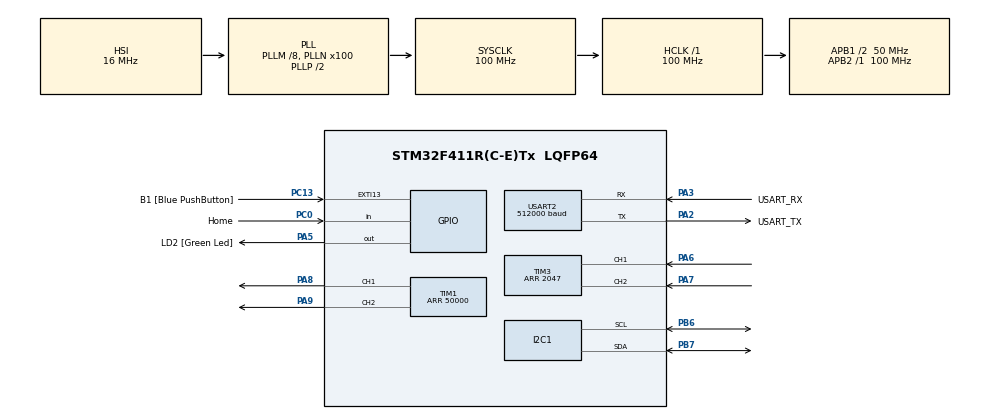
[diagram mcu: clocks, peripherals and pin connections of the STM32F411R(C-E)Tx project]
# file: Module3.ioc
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Dma.Request0=USART2_RX
Dma.Request1=USART2_TX
Dma.USART2_RX.0.Direction=DMA_PERIPH_TO_MEMORY
Dma.USART2_RX.0.FIFOMode=DMA_FIFOMODE_DISABLE
Dma.USART2_RX.0.Instance=DMA1_Stream5
Dma.USART2_RX.0.MemDataAlignment=DMA_MDATAALIGN_BYTE
Dma.USART2_RX.0.MemInc=DMA_MINC_ENABLE
Dma.USART2_RX.0.Mode=DMA_CIRCULAR
Dma.USART2_RX.0.PeriphDataAlignment=DMA_PDATAALIGN_BYTE
Dma.USART2_RX.0.PeriphInc=DMA_PINC_DISABLE
Dma.USART2_RX.0.Priority=DMA_PRIORITY_LOW
Dma.USART2_TX.1.Direction=DMA_MEMORY_TO_PERIPH
Dma.USART2_TX.1.FIFOMode=DMA_FIFOMODE_DISABLE
Dma.USART2_TX.1.Instance=DMA1_Stream6
Dma.USART2_TX.1.MemDataAlignment=DMA_MDATAALIGN_BYTE
Dma.USART2_TX.1.MemInc=DMA_MINC_ENABLE
Dma.USART2_TX.1.Mode=DMA_NORMAL
Dma.USART2_TX.1.PeriphDataAlignment=DMA_PDATAALIGN_BYTE
Dma.USART2_TX.1.PeriphInc=DMA_PINC_DISABLE
Dma.USART2_TX.1.Priority=DMA_PRIORITY_LOW
Mcu.Family=STM32F4
Mcu.Name=STM32F411R(C-E)Tx
Mcu.Package=LQFP64
NVIC.DMA1_Stream5_IRQn=true\:0\:0\:false\:false\:true\:false\:true\:true
NVIC.DMA1_Stream6_IRQn=true\:0\:0\:false\:false\:true\:false\:true\:true
NVIC.PriorityGroup=NVIC_PRIORITYGROUP_0
NVIC.USART2_IRQn=true\:0\:0\:false\:false\:true\:true\:true\:true
PA13.GPIO_Label=TMS
PA13.Mode=Serial_Wire
PA13.Signal=SYS_JTMS-SWDIO
PA14.GPIO_Label=TCK
PA14.Mode=Serial_Wire
PA14.Signal=SYS_JTCK-SWCLK
PA2.GPIO_Label=USART_TX
PA2.Mode=Asynchronous
PA2.Signal=USART2_TX
PA3.GPIO_Label=USART_RX
PA3.Mode=Asynchronous
PA3.Signal=USART2_RX
PA5.GPIO_Label=LD2 [Green Led]
PA5.Signal=GPIO_Output
PA6.Signal=S_TIM3_CH1
PA7.Signal=S_TIM3_CH2
PA8.Signal=S_TIM1_CH1
PA9.Signal=S_TIM1_CH2
PB3.GPIO_Label=SWO
PB3.Signal=SYS_JTDO-SWO
PB6.GPIO_Mode=GPIO_MODE_AF_OD
PB6.GPIO_Pu=GPIO_PULLUP
PB6.GPIO_Speed=GPIO_SPEED_FREQ_VERY_HIGH
PB6.Mode=I2C
PB6.Signal=I2C1_SCL
PB7.GPIO_Mode=GPIO_MODE_AF_OD
PB7.GPIO_Pu=GPIO_PULLUP
PB7.GPIO_Speed=GPIO_SPEED_FREQ_VERY_HIGH
PB7.Mode=I2C
PB7.Signal=I2C1_SDA
PC0.GPIO_Label=Home
PC0.Signal=GPIO_Input
PC13-ANTI_TAMP.GPIO_Label=B1 [Blue PushButton]
PC13-ANTI_TAMP.GPIO_ModeDefaultEXTI=GPIO_MODE_IT_FALLING
PC13-ANTI_TAMP.Signal=GPXTI13
PC14-OSC32_IN.Mode=LSE-External-Oscillator
PC14-OSC32_IN.Signal=RCC_OSC32_IN
PC15-OSC32_OUT.Mode=LSE-External-Oscillator
PC15-OSC32_OUT.Signal=RCC_OSC32_OUT
PH0\ -\ OSC_IN.Mode=HSE-External-Clock-Source
PH0\ -\ OSC_IN.Signal=RCC_OSC_IN
PH1\ -\ OSC_OUT.Mode=HSE-External-Clock-Source
PH1\ -\ OSC_OUT.Signal=RCC_OSC_OUT
ProjectManager.HeapSize=0x200
ProjectManager.StackSize=0x400
ProjectManager.TargetToolchain=STM32CubeIDE
RCC.48MHZClocksFreq_Value=50000000
RCC.AHBFreq_Value=100000000
RCC.APB1CLKDivider=RCC_HCLK_DIV2
RCC.APB1Freq_Value=50000000
RCC.APB1TimFreq_Value=100000000
RCC.APB2Freq_Value=100000000
RCC.APB2TimFreq_Value=100000000
RCC.CortexFreq_Value=100000000
RCC.FLatency-AdvancedSettings=FLASH_LATENCY_3
RCC.HCLKFreq_Value=100000000
RCC.HSE_VALUE=8000000
RCC.HSI_VALUE=16000000
RCC.PLLM=8
RCC.PLLN=100
RCC.SYSCLKFreq_VALUE=100000000
RCC.SYSCLKSource=RCC_SYSCLKSOURCE_PLLCLK
RCC.VCOOutputFreq_Value=200000000
SH.S_TIM1_CH1.0=TIM1_CH1,PWM Generation1 CH1
SH.S_TIM1_CH2.0=TIM1_CH2,PWM Generation2 CH2
SH.S_TIM3_CH1.0=TIM3_CH1,Encoder_Interface
SH.S_TIM3_CH2.0=TIM3_CH2,Encoder_Interface
TIM1.AutoReloadPreload=TIM_AUTORELOAD_PRELOAD_ENABLE
TIM1.Channel-PWM\ Generation1\ CH1=TIM_CHANNEL_1
TIM1.Channel-PWM\ Generation2\ CH2=TIM_CHANNEL_2
TIM1.Period=50000
TIM2.Prescaler=99
TIM3.EncoderMode=TIM_ENCODERMODE_TI12
TIM3.Period=2047
USART2.BaudRate=512000
USART2.Parity=PARITY_EVEN
USART2.VirtualMode=VM_ASYNC
USART2.WordLength=WORDLENGTH_9B
VP_TIM1_VS_ClockSourceINT.Mode=Internal
VP_TIM2_VS_ClockSourceINT.Mode=Internal
board=NUCLEO-F411RE

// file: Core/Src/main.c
/* USER CODE BEGIN Header */
/**
  ******************************************************************************
  * @file           : main.c
  * @brief          : Main program body
  ******************************************************************************
  * @attention
  *
  * <h2><center>&copy; Copyright (c) 2021 STMicroelectronics.
  * All rights reserved.</center></h2>
  *
  * This software component is licensed by ST under BSD 3-Clause license,
  * the "License"; You may not use this file except in compliance with the
  * License. You may obtain a copy of the License at:
  *                        opensource.org/licenses/BSD-3-Clause
  *
  ******************************************************************************
  */
/* USER CODE END Header */
#include "main.h"

/* USER CODE BEGIN Includes */
#include "stdio.h"
#include <stdlib.h>
#include "string.h"
#include <math.h>
/* USER CODE END Includes */

/* USER CODE BEGIN PD */
#define End_Eff 0x23
#define Ack1 0b101100001110101
/* USER CODE END PD */

I2C_HandleTypeDef hi2c1;

TIM_HandleTypeDef htim1;
TIM_HandleTypeDef htim2;
TIM_HandleTypeDef htim3;

UART_HandleTypeDef huart2;
DMA_HandleTypeDef hdma_usart2_rx;
DMA_HandleTypeDef hdma_usart2_tx;

/* USER CODE BEGIN PV */

//UART
typedef struct _UartStructure
{
	UART_HandleTypeDef *huart;
	uint16_t TxLen, RxLen;
	uint8_t *TxBuffer;
	uint16_t TxTail, TxHead;
	uint8_t *RxBuffer;
	uint16_t RxTail; //RXHeadUseDMA

} UARTStucrture;

UARTStucrture UART2 =
{ 0 };

uint8_t MainMemory[255] =
{ 0 };
uint16_t n=0;
typedef enum
{
	Idle,
	Frame1,
	Frame2_1,
	Frame2_2,
	Frame3_n,
	Frame3_station,
	CheckSum2,
	CheckSum3,
	InitPID,
	Traj,
	Trong,
	YangMaiTrong,
//	Finished,
	half_traj,
	final_traj,

} State;
uint8_t Mode = 0;
uint8_t Frame = 0;
uint8_t n_Station = 0;
uint16_t Station[10] = {0};
uint8_t input = 0;
uint8_t UARTsuccess = 0;
uint8_t UARTerror = 0;
uint8_t enable_eff = 0;
uint16_t ChecksumFrame3 = 0;

//PID
int InitialPWM = 7500 ; //offset start pwm
uint64_t TimestampPID = 0 ; //PID period
float SampleTime = 0.00001 ; //PID period
float PreviousPWM = 0 ;
float preErr1,preErr2 ;
float DeltaU;
float P = 0;
float I = 0;
float D = 0;
float p = 47.8125;
//float p = 70;
float i = 12.8525;
//float i = 8;
float d = 10;
//float d = 5;
float SUM,PPreerror;
float PP = 10;
float II = 0.3;
float DD = 1;
uint64_t secondpidTS = 0;

//Traj
float StartTime ; //Start moving time
uint8_t StartMoving = 0 ; //Start moving signal
uint64_t t = 0 ; //traj gen period
uint8_t ST = 0 ; //1 when gen traj
float velocity; //velocity gen
float position;
float acceleration;
float StartPos;
float FinalPos = 30 ; //Degree
float Qi,Qf,TA,TV,T,tau ;
float TA1,TA2,TA3,TV1 ;
uint64_t Trajtimestamp;
uint8_t via_point = 0;
float VmaxRPM = 10 ; //rpm
float VmaxReal = 0;
uint8_t FinishedTraj = 0 ;
uint8_t Vi = 0;
uint64_t Trong1Vi = 0;
float finally = 0;

//Set Home
uint8_t HomeSignal[8] = {0} ; //read from encoder
uint8_t SetHomeFlag = 0 ; //Status set home - 1 working
uint8_t StartSetHome = 0 ; //Set home trigger
uint8_t sum;
uint64_t SetHomeTimeStamp = 0;
uint8_t home = 0;

//Read Encoder
uint64_t TimestampEncoder = 0 ;//period of low pass read velocity
uint64_t TimestampVelocity = 0 ;
float EncoderVel = 0 ; //Velovity after low pass
float EncoderAcc = 0;

//N station
uint8_t FinishedStation = 0;
uint8_t FinishedTask = 0;
uint8_t NextStation = 0;
uint8_t HowMuchStation = 1;
uint64_t effTimestamp = 0;
uint8_t openeff = 0;
uint8_t GoToStation[255] = {0};

//Check requirement
uint64_t StartStationTime = 0;
uint64_t EndStationTime = 0;
float TimePerStation = 0;
float VrequirementCheck = 0;
float AccMax = 0;

//General
float request = 0 ; //Velocity want to be
uint16_t PWMPercent = 0 ; //Motor PWM 0 - 10000
uint64_t _micros = 0;
float VelocityRPM ; //velocity RPM unit
float AccelerationRad ;
float Degree = 0 ; //Position Degree unit
uint8_t Direction = 0 ; //0 CW - 1 CCW - 2 Stop
uint8_t ButtonBuffer[2] = {0} ; //Blue button

uint16_t EndEffStatus = 0 ;
uint8_t test = 0;
uint8_t frame1 = 0;
uint8_t frame2 = 0;
uint8_t frame3 = 0;
uint16_t DataInTest = 0 ;
uint8_t checksumtest = 0;

uint8_t stateeee = 0;
float V;

/* USER CODE END PV */

void SystemClock_Config(void);
static void MX_GPIO_Init(void);
static void MX_TIM1_Init(void);
static void MX_TIM2_Init(void);
static void MX_DMA_Init(void);
static void MX_I2C1_Init(void);
static void MX_TIM3_Init(void);
static void MX_USART2_UART_Init(void);
/* USER CODE BEGIN PFP */
uint64_t micros() ;
float EncoderVelocity_Update();
float EncoderAcceleration_Update();
void PWMgeneration() ;
float Velocity() ;
float Acceleration() ;
void PID() ;
void PIDinit() ;
void Trajec();
void SetHome() ;
void EndEffWrite() ;
void SecondPID() ;

void WriteACK1();
void WriteACK2();

//UART Function
void UARTInit(UARTStucrture *uart);
void UARTResetStart(UARTStucrture *uart);
uint32_t UARTGetRxHead(UARTStucrture *uart);
int16_t UARTReadChar(UARTStucrture *uart);
void UARTTxDumpBuffer(UARTStucrture *uart);
void UARTTxWrite(UARTStucrture *uart, uint8_t *pData, uint16_t len);
void Protocal(int16_t dataIn, UARTStucrture *uart);
int16_t CheckSumFunction(uint8_t CheckSum, uint8_t Frame, uint8_t Data);

/* USER CODE END PFP */

int main(void)
{

  /* MCU Configuration--------------------------------------------------------*/

  /* Reset of all peripherals, Initializes the Flash interface and the Systick. */
  HAL_Init();

  /* Configure the system clock */
  SystemClock_Config();

  /* Initialize all configured peripherals */
  MX_GPIO_Init();
  MX_TIM1_Init();
  MX_TIM2_Init();
  MX_DMA_Init();
  MX_I2C1_Init();
  MX_TIM3_Init();
  MX_USART2_UART_Init();
  /* USER CODE BEGIN 2 */

UART2.huart = &huart2;
UART2.RxLen = 255;
UART2.TxLen = 255;
UARTInit(&UART2);
UARTResetStart(&UART2);

	PIDinit() ;

  // start PWM
  HAL_TIM_Base_Start(&htim1);
  HAL_TIM_PWM_Start(&htim1, TIM_CHANNEL_1);
  HAL_TIM_PWM_Start(&htim1, TIM_CHANNEL_2);
  HAL_TIM_PWM_Start(&htim1, TIM_CHANNEL_3);

  // start micros
  HAL_TIM_Base_Start_IT(&htim2);

  // start Encoder
  HAL_TIM_Encoder_Start(&htim3, TIM_CHANNEL_ALL);
  /* USER CODE END 2 */

  /* Infinite loop */
  /* USER CODE BEGIN WHILE */
  while (1)
  {
	  Station[0] = 80;
	  Station[1] = 85;
	  Station[2] = 90;
	  Station[3] = 95;
	  Station[4] = 260;
	  Station[5] = 25;
	  Station[6] = 115;
	  Station[7] = 205;
	  Station[8] = 295;
	  Station[9] = 0;

	  //*************When reach station********************
	  //Open End-eff
	  if (FinishedStation)
	  {
		  if (micros() - effTimestamp > 5000000)
		  {
			  FinishedStation = 0;
			  if (HowMuchStation > 0)
			  {
				  NextStation++;
				  StartMoving = 1;
				  EndStationTime = micros();
				  TimePerStation = (float)(EndStationTime-StartStationTime)/1000000;
			  }
			  else
			  {
				  EndStationTime = micros();
				  TimePerStation = (float)(EndStationTime-StartStationTime)/1000000;
				  StartMoving = 0;
				  FinishedTask = 1;
			  }

		  }
	  }
	  //Get next station
	  if (HowMuchStation >=1)
	  {
		  FinalPos = Station[GoToStation[NextStation]];
	  }
	  //*****************************************************************
	  if (NextStation >= HowMuchStation && StartMoving && HowMuchStation != 0)
	  {
		  FinishedTask = 1;
		  StartMoving = 0;
	  }
//***********General********************************
	  ButtonBuffer[0] = HAL_GPIO_ReadPin(GPIOC, GPIO_PIN_13);
	  if (ButtonBuffer[1] == 1 && ButtonBuffer[0]== 0)
	  {
		  EndEffWrite();
	  }
	  ButtonBuffer[1] = ButtonBuffer[0];
	  Degree = htim3.Instance->CNT * 360.0 / 2048.0 ; //Degree unit
	  PWMgeneration() ; //Gen PWM
//***************************************************
////**********Get Real Vmax****************************

	  VelocityRPM = Velocity() ; //rpm unit
	  if (VelocityRPM < 0)
	  {
		  VmaxReal = -VelocityRPM;
	  }
	  else
	  {
		  VmaxReal = VelocityRPM;
	  }
	  if (VmaxReal > VrequirementCheck)
	  {
		  VrequirementCheck = VmaxReal;
	  }
//	  AccelerationRad = Acceleration();
	  AccelerationRad = Acceleration();
	  if(fabs(AccelerationRad) > AccMax)
	  {
		  AccMax = fabs(AccelerationRad);
	  }
////*****************************************************
//**********Set Home******************************
	  if (StartSetHome)
	  {
		  SetHome() ;
		  //**************PID******************************
		  if (micros() - TimestampPID > 1000)
		  {
			  P = p;
			  I = i;
			  D = d;
			  PID() ;
			  TimestampPID = micros() ;
		  }
		  //************************************************
	  }
//***********************************************

//**************UART******************************
	  int16_t inputChar = UARTReadChar(&UART2);
	  if (inputChar != -1)
	  {
		  Protocal(inputChar, &UART2);
	  }
	  if (FinishedTask)
	  {
		  WriteACK2();
		  FinishedTask = 0;
	  }
	  if (Mode == 12)
	  {
		  enable_eff = 1;
	  }
	  if (Mode == 13)
	  {
		  enable_eff = 0;
	  }

//****************************************************
//*******init Traj***********************************
	  if (StartMoving == 0 && StartSetHome == 0)
	  {
		  T = 0;
		  TV = 0;
		  TA = 0;
		  ST = 0;
		  Direction = 2;

	  }
//**************************************************
//*******Start Generate Trajectory*******************
	  if (StartMoving == 1)
	  {
		  static State Statee = InitPID;
		  switch(Statee)
		  {
		  case InitPID:
			  if (FinalPos - Degree >= 10 || FinalPos - Degree <= -10)
			  {
				  StartStationTime = micros();
				  VrequirementCheck = 0;
				  AccMax = 0;
				  PIDinit();
				  Statee = Traj;
			  }
			  else
			  {
				  StartStationTime = micros();
				  VrequirementCheck = 0;
				  AccMax = 0;
				  PIDinit();
				  Statee = YangMaiTrong;
			  }

			  break;
		  case Traj:
			  //**************PID******************************
			  if (micros() - TimestampPID > 1000)
			  {
				  P = p;
				  I = i;
				  D = d;
				  PID() ;
				  TimestampPID = micros() ;
			  }
			  //************************************************
			  Trajec();
			  if (FinishedTraj)
			  {
				  if (FinalPos - Degree > 0.4 || FinalPos - Degree < -0.4)
				  {
					  if (FinalPos - Degree >= 359.6 || FinalPos - Degree <= -359.6)
					  {
						  Statee = Trong;
						  FinishedTraj = 0;
					  }
					  else
					  {
						  Statee = YangMaiTrong;
						  FinishedTraj = 0;
						  PIDinit();
					  }

				  }
				  else
				  {
					  Statee = Trong;
					  FinishedTraj = 0;
				  }
			  }
			  break;
		  case YangMaiTrong:
			  if (FinalPos <= Degree && FinalPos - Degree <= -0.4 && FinalPos - Degree > -359.6)
			  {
				  request = -0.5;
				  Direction = 1;
			  }
			  if (FinalPos >= Degree && FinalPos - Degree >= 0.4 && FinalPos - Degree < 359.6)
			  {
				  request = 0.5;
				  Direction = 0;
			  }
			  if (FinalPos <= Degree && FinalPos - Degree > -359.6 && FinalPos - Degree <= -300)
			  {
				  request = 0.5;
				  Direction = 0;
			  }
			  if (FinalPos >= Degree && FinalPos - Degree >= 300 && FinalPos - Degree < 359.6)
			  {
				  request = -0.5;
				  Direction = 1;
			  }

			  if (FinalPos - Degree <= 0.4 && FinalPos - Degree >= -0.4)
			  {
				  request = 0;
				  Direction = 2;
				  Statee = Trong;
			  }
			  if (FinalPos - Degree >= 359.6 || FinalPos - Degree <= -359.6)
			  {
				  request = 0;
				  Direction = 2;
				  Statee = Trong;
				  PWMPercent = 0;
			  }
			  if (micros() - TimestampPID > 1000)
			  {
				  P = p;
				  I = i;
				  D = d;
				  PID() ;
				  TimestampPID = micros() ;
			  }
			  break;
		  case Trong:
			  if (FinalPos - Degree <= 0.4 && FinalPos - Degree >= -0.4)
			  {
				  request = 0;
				  PWMPercent = 0;
				  FinishedStation = 1;
				  StartMoving = 0;
				  Statee = InitPID;
				  effTimestamp = micros();
				  EndEffWrite();
			  }
			  else if (FinalPos - Degree >= 359.6 || FinalPos - Degree <= -359.6)
			  {
				  request = 0;
				  PWMPercent = 0;
				  FinishedStation = 1;
				  StartMoving = 0;
				  Statee = InitPID;
				  effTimestamp = micros();
				  EndEffWrite();
			  }
			  else
			  {
				  PIDinit();
				  Statee = YangMaiTrong;
			  }

			  break;
		  }

	  }

//***************************************************
    /* USER CODE END WHILE */

    /* USER CODE BEGIN 3 */
	  UARTTxDumpBuffer(&UART2);

  }
  /* USER CODE END 3 */
}

void SystemClock_Config(void)
{
  RCC_OscInitTypeDef RCC_OscInitStruct = {0};
  RCC_ClkInitTypeDef RCC_ClkInitStruct = {0};

  /** Configure the main internal regulator output voltage
  */
  __HAL_RCC_PWR_CLK_ENABLE();
  __HAL_PWR_VOLTAGESCALING_CONFIG(PWR_REGULATOR_VOLTAGE_SCALE1);
  /** Initializes the RCC Oscillators according to the specified parameters
  * in the RCC_OscInitTypeDef structure.
  */
  RCC_OscInitStruct.OscillatorType = RCC_OSCILLATORTYPE_HSI;
  RCC_OscInitStruct.HSIState = RCC_HSI_ON;
  RCC_OscInitStruct.HSICalibrationValue = RCC_HSICALIBRATION_DEFAULT;
  RCC_OscInitStruct.PLL.PLLState = RCC_PLL_ON;
  RCC_OscInitStruct.PLL.PLLSource = RCC_PLLSOURCE_HSI;
  RCC_OscInitStruct.PLL.PLLM = 8;
  RCC_OscInitStruct.PLL.PLLN = 100;
  RCC_OscInitStruct.PLL.PLLP = RCC_PLLP_DIV2;
  RCC_OscInitStruct.PLL.PLLQ = 4;
  if (HAL_RCC_OscConfig(&RCC_OscInitStruct) != HAL_OK)
  {
    Error_Handler();
  }
  /** Initializes the CPU, AHB and APB buses clocks
  */
  RCC_ClkInitStruct.ClockType = RCC_CLOCKTYPE_HCLK|RCC_CLOCKTYPE_SYSCLK
                              |RCC_CLOCKTYPE_PCLK1|RCC_CLOCKTYPE_PCLK2;
  RCC_ClkInitStruct.SYSCLKSource = RCC_SYSCLKSOURCE_PLLCLK;
  RCC_ClkInitStruct.AHBCLKDivider = RCC_SYSCLK_DIV1;
  RCC_ClkInitStruct.APB1CLKDivider = RCC_HCLK_DIV2;
  RCC_ClkInitStruct.APB2CLKDivider = RCC_HCLK_DIV1;

  if (HAL_RCC_ClockConfig(&RCC_ClkInitStruct, FLASH_LATENCY_3) != HAL_OK)
  {
    Error_Handler();
  }
}

static void MX_I2C1_Init(void)
{

  hi2c1.Instance = I2C1;
  hi2c1.Init.ClockSpeed = 100000;
  hi2c1.Init.DutyCycle = I2C_DUTYCYCLE_2;
  hi2c1.Init.OwnAddress1 = 0;
  hi2c1.Init.AddressingMode = I2C_ADDRESSINGMODE_7BIT;
  hi2c1.Init.DualAddressMode = I2C_DUALADDRESS_DISABLE;
  hi2c1.Init.OwnAddress2 = 0;
  hi2c1.Init.GeneralCallMode = I2C_GENERALCALL_DISABLE;
  hi2c1.Init.NoStretchMode = I2C_NOSTRETCH_DISABLE;
  if (HAL_I2C_Init(&hi2c1) != HAL_OK)
  {
    Error_Handler();
  }

}

static void MX_TIM1_Init(void)
{

  TIM_ClockConfigTypeDef sClockSourceConfig = {0};
  TIM_MasterConfigTypeDef sMasterConfig = {0};
  TIM_OC_InitTypeDef sConfigOC = {0};
  TIM_BreakDeadTimeConfigTypeDef sBreakDeadTimeConfig = {0};

  htim1.Instance = TIM1;
  htim1.Init.Prescaler = 0;
  htim1.Init.CounterMode = TIM_COUNTERMODE_UP;
  htim1.Init.Period = 50000;
  htim1.Init.ClockDivision = TIM_CLOCKDIVISION_DIV1;
  htim1.Init.RepetitionCounter = 0;
  htim1.Init.AutoReloadPreload = TIM_AUTORELOAD_PRELOAD_ENABLE;
  if (HAL_TIM_Base_Init(&htim1) != HAL_OK)
  {
    Error_Handler();
  }
  sClockSourceConfig.ClockSource = TIM_CLOCKSOURCE_INTERNAL;
  if (HAL_TIM_ConfigClockSource(&htim1, &sClockSourceConfig) != HAL_OK)
  {
    Error_Handler();
  }
  if (HAL_TIM_PWM_Init(&htim1) != HAL_OK)
  {
    Error_Handler();
  }
  sMasterConfig.MasterOutputTrigger = TIM_TRGO_RESET;
  sMasterConfig.MasterSlaveMode = TIM_MASTERSLAVEMODE_DISABLE;
  if (HAL_TIMEx_MasterConfigSynchronization(&htim1, &sMasterConfig) != HAL_OK)
  {
    Error_Handler();
  }
  sConfigOC.OCMode = TIM_OCMODE_PWM1;
  sConfigOC.Pulse = 0;
  sConfigOC.OCPolarity = TIM_OCPOLARITY_HIGH;
  sConfigOC.OCNPolarity = TIM_OCNPOLARITY_HIGH;
  sConfigOC.OCFastMode = TIM_OCFAST_DISABLE;
  sConfigOC.OCIdleState = TIM_OCIDLESTATE_RESET;
  sConfigOC.OCNIdleState = TIM_OCNIDLESTATE_RESET;
  if (HAL_TIM_PWM_ConfigChannel(&htim1, &sConfigOC, TIM_CHANNEL_1) != HAL_OK)
  {
    Error_Handler();
  }
  if (HAL_TIM_PWM_ConfigChannel(&htim1, &sConfigOC, TIM_CHANNEL_2) != HAL_OK)
  {
    Error_Handler();
  }
  sBreakDeadTimeConfig.OffStateRunMode = TIM_OSSR_DISABLE;
  sBreakDeadTimeConfig.OffStateIDLEMode = TIM_OSSI_DISABLE;
  sBreakDeadTimeConfig.LockLevel = TIM_LOCKLEVEL_OFF;
  sBreakDeadTimeConfig.DeadTime = 0;
  sBreakDeadTimeConfig.BreakState = TIM_BREAK_DISABLE;
  sBreakDeadTimeConfig.BreakPolarity = TIM_BREAKPOLARITY_HIGH;
  sBreakDeadTimeConfig.AutomaticOutput = TIM_AUTOMATICOUTPUT_DISABLE;
  if (HAL_TIMEx_ConfigBreakDeadTime(&htim1, &sBreakDeadTimeConfig) != HAL_OK)
  {
    Error_Handler();
  }
  HAL_TIM_MspPostInit(&htim1);

}

static void MX_TIM2_Init(void)
{

  TIM_ClockConfigTypeDef sClockSourceConfig = {0};
  TIM_MasterConfigTypeDef sMasterConfig = {0};

  htim2.Instance = TIM2;
  htim2.Init.Prescaler = 99;
  htim2.Init.CounterMode = TIM_COUNTERMODE_UP;
  htim2.Init.Period = 4294967295;
  htim2.Init.ClockDivision = TIM_CLOCKDIVISION_DIV1;
  htim2.Init.AutoReloadPreload = TIM_AUTORELOAD_PRELOAD_DISABLE;
  if (HAL_TIM_Base_Init(&htim2) != HAL_OK)
  {
    Error_Handler();
  }
  sClockSourceConfig.ClockSource = TIM_CLOCKSOURCE_INTERNAL;
  if (HAL_TIM_ConfigClockSource(&htim2, &sClockSourceConfig) != HAL_OK)
  {
    Error_Handler();
  }
  sMasterConfig.MasterOutputTrigger = TIM_TRGO_RESET;
  sMasterConfig.MasterSlaveMode = TIM_MASTERSLAVEMODE_DISABLE;
  if (HAL_TIMEx_MasterConfigSynchronization(&htim2, &sMasterConfig) != HAL_OK)
  {
    Error_Handler();
  }

}

static void MX_TIM3_Init(void)
{

  TIM_Encoder_InitTypeDef sConfig = {0};
  TIM_MasterConfigTypeDef sMasterConfig = {0};

  htim3.Instance = TIM3;
  htim3.Init.Prescaler = 0;
  htim3.Init.CounterMode = TIM_COUNTERMODE_UP;
  htim3.Init.Period = 2047;
  htim3.Init.ClockDivision = TIM_CLOCKDIVISION_DIV1;
  htim3.Init.AutoReloadPreload = TIM_AUTORELOAD_PRELOAD_DISABLE;
  sConfig.EncoderMode = TIM_ENCODERMODE_TI12;
  sConfig.IC1Polarity = TIM_ICPOLARITY_RISING;
  sConfig.IC1Selection = TIM_ICSELECTION_DIRECTTI;
  sConfig.IC1Prescaler = TIM_ICPSC_DIV1;
  sConfig.IC1Filter = 0;
  sConfig.IC2Polarity = TIM_ICPOLARITY_RISING;
  sConfig.IC2Selection = TIM_ICSELECTION_DIRECTTI;
  sConfig.IC2Prescaler = TIM_ICPSC_DIV1;
  sConfig.IC2Filter = 0;
  if (HAL_TIM_Encoder_Init(&htim3, &sConfig) != HAL_OK)
  {
    Error_Handler();
  }
  sMasterConfig.MasterOutputTrigger = TIM_TRGO_RESET;
  sMasterConfig.MasterSlaveMode = TIM_MASTERSLAVEMODE_DISABLE;
  if (HAL_TIMEx_MasterConfigSynchronization(&htim3, &sMasterConfig) != HAL_OK)
  {
    Error_Handler();
  }

}

static void MX_USART2_UART_Init(void)
{

  huart2.Instance = USART2;
  huart2.Init.BaudRate = 512000;
  huart2.Init.WordLength = UART_WORDLENGTH_9B;
  huart2.Init.StopBits = UART_STOPBITS_1;
  huart2.Init.Parity = UART_PARITY_EVEN;
  huart2.Init.Mode = UART_MODE_TX_RX;
  huart2.Init.HwFlowCtl = UART_HWCONTROL_NONE;
  huart2.Init.OverSampling = UART_OVERSAMPLING_16;
  if (HAL_UART_Init(&huart2) != HAL_OK)
  {
    Error_Handler();
  }

}

static void MX_DMA_Init(void)
{

  /* DMA controller clock enable */
  __HAL_RCC_DMA1_CLK_ENABLE();

  /* DMA interrupt init */
  /* DMA1_Stream5_IRQn interrupt configuration */
  HAL_NVIC_SetPriority(DMA1_Stream5_IRQn, 0, 0);
  HAL_NVIC_EnableIRQ(DMA1_Stream5_IRQn);
  /* DMA1_Stream6_IRQn interrupt configuration */
  HAL_NVIC_SetPriority(DMA1_Stream6_IRQn, 0, 0);
  HAL_NVIC_EnableIRQ(DMA1_Stream6_IRQn);

}

static void MX_GPIO_Init(void)
{
  GPIO_InitTypeDef GPIO_InitStruct = {0};

  /* GPIO Ports Clock Enable */
  __HAL_RCC_GPIOC_CLK_ENABLE();
  __HAL_RCC_GPIOH_CLK_ENABLE();
  __HAL_RCC_GPIOA_CLK_ENABLE();
  __HAL_RCC_GPIOB_CLK_ENABLE();

  /*Configure GPIO pin Output Level */
  HAL_GPIO_WritePin(LD2_GPIO_Port, LD2_Pin, GPIO_PIN_RESET);

  /*Configure GPIO pin : B1_Pin */
  GPIO_InitStruct.Pin = B1_Pin;
  GPIO_InitStruct.Mode = GPIO_MODE_IT_FALLING;
  GPIO_InitStruct.Pull = GPIO_NOPULL;
  HAL_GPIO_Init(B1_GPIO_Port, &GPIO_InitStruct);

  /*Configure GPIO pin : Home_Pin */
  GPIO_InitStruct.Pin = Home_Pin;
  GPIO_InitStruct.Mode = GPIO_MODE_INPUT;
  GPIO_InitStruct.Pull = GPIO_NOPULL;
  HAL_GPIO_Init(Home_GPIO_Port, &GPIO_InitStruct);

  /*Configure GPIO pin : LD2_Pin */
  GPIO_InitStruct.Pin = LD2_Pin;
  GPIO_InitStruct.Mode = GPIO_MODE_OUTPUT_PP;
  GPIO_InitStruct.Pull = GPIO_NOPULL;
  GPIO_InitStruct.Speed = GPIO_SPEED_FREQ_LOW;
  HAL_GPIO_Init(LD2_GPIO_Port, &GPIO_InitStruct);

}

/* USER CODE BEGIN 4 */
void EndEffWrite()
{
	if (hi2c1.State == HAL_I2C_STATE_READY && enable_eff)
//	if (hi2c1.State == HAL_I2C_STATE_READY)
	{
		test ++;
		HAL_Delay(500);
		uint8_t temp = 0x45;
		uint8_t add = 0x23;
		HAL_I2C_Master_Transmit(&hi2c1, add << 1, &temp, 1, 1000); //Write eff
	}

}

void UARTInit(UARTStucrture *uart)
{
	//dynamic memory allocate
	uart->RxBuffer = (uint8_t*) calloc(sizeof(uint8_t), UART2.RxLen);
	uart->TxBuffer = (uint8_t*) calloc(sizeof(uint8_t), UART2.TxLen);
	uart->RxTail = 0;
	uart->TxTail = 0;
	uart->TxHead = 0;

}

void UARTResetStart(UARTStucrture *uart)
{
	HAL_UART_Receive_DMA(uart->huart, uart->RxBuffer, uart->RxLen);
}
uint32_t UARTGetRxHead(UARTStucrture *uart)
{
	return uart->RxLen - __HAL_DMA_GET_COUNTER(uart->huart->hdmarx);
}
int16_t UARTReadChar(UARTStucrture *uart)
{
	uint16_t Result = -1; // -1 Mean no new data

	//check Buffer Position
	if (uart->RxTail != UARTGetRxHead(uart))
	{
		//get data from buffer
		Result = uart->RxBuffer[uart->RxTail];
		uart->RxTail = (uart->RxTail + 1) % uart->RxLen;

	}
	return Result;

}
void UARTTxDumpBuffer(UARTStucrture *uart)
{
	static uint8_t MultiProcessBlocker = 0;

	if (uart->huart->gState == HAL_UART_STATE_READY && !MultiProcessBlocker)
	{
		MultiProcessBlocker = 1;

		if (uart->TxHead != uart->TxTail)
		{
			//find len of data in buffer (Circular buffer but do in one way)
			uint16_t sentingLen =
					uart->TxHead > uart->TxTail ?
							uart->TxHead - uart->TxTail :
							uart->TxLen - uart->TxTail;

			//sent data via DMA
			HAL_UART_Transmit_DMA(uart->huart, &(uart->TxBuffer[uart->TxTail]),
					sentingLen);
			//move tail to new position
			uart->TxTail = (uart->TxTail + sentingLen) % uart->TxLen;

		}
		MultiProcessBlocker = 0;
	}

}
void UARTTxWrite(UARTStucrture *uart, uint8_t *pData, uint16_t len)
{

	//check data len is more than buffer?
	uint16_t lenAddBuffer = (len <= uart->TxLen) ? len : uart->TxLen;

	// find number of data before end of ring buffer
	uint16_t numberOfdataCanCopy =
			lenAddBuffer <= uart->TxLen - uart->TxHead ?
					lenAddBuffer : uart->TxLen - uart->TxHead;
	//copy data to the buffer
	memcpy(&(uart->TxBuffer[uart->TxHead]), pData, numberOfdataCanCopy);

	//Move Head to new position

	uart->TxHead = (uart->TxHead + lenAddBuffer) % uart->TxLen;
	//Check that we copy all data That We can?
	if (lenAddBuffer != numberOfdataCanCopy)
	{
		memcpy(uart->TxBuffer, &(pData[numberOfdataCanCopy]),
				lenAddBuffer - numberOfdataCanCopy);
	}
	UARTTxDumpBuffer(uart);
}

void Protocal(int16_t dataIn,UARTStucrture *uart)
{
	//all Static Variable
	static State State = Idle;
	static uint8_t StartBit = 0b1001;
	static uint8_t ModeIN = 0;
	static uint8_t CheckSum = 0;
	static uint16_t CollectedData = 0;
	static uint16_t CollectedData2 = 0;
	static uint8_t CurrentAngle1 = 0;
	static uint8_t CurrentAngle2 = 0;
	static uint16_t xxx = 0;
	DataInTest = dataIn & 0xf0;

//	//State Machine
	switch (State)
	{
	case Idle:
		stateeee = 1;
		UARTsuccess = 0;
		UARTerror = 0;
		if (DataInTest == 0b10010000)
		{
			ModeIN = dataIn&0xf;
			if (ModeIN == 0b0001)
			{
				Mode = 1;
				CheckSum = (StartBit << 4) | 0b1;
				Frame = 2;
				State = Frame2_1;
			}
			if (ModeIN == 0b0010)
			{
				Mode = 2;
				State = Frame1;
				Frame = 1;
				CheckSum = (StartBit << 4) | 0b10;
			}
			if (ModeIN == 0b0011)
			{
				Mode = 3;
				State = Frame1;
				Frame = 1;
				CheckSum = (StartBit << 4) | 0b11;
			}
			if (ModeIN == 0b0100)
			{
				Mode = 4;
				State = Frame2_1;
				Frame = 2;
				CheckSum = (StartBit << 4) | 0b100;
			}
			if (ModeIN == 0b0101)
			{
				Mode = 5;
				State = Frame2_1;
				Frame = 2;
				CheckSum = (StartBit << 4) | 0b101;
			}
			if (ModeIN == 0b0110)
			{
				Mode = 6;
				State = Frame2_1;
				Frame = 2;
				CheckSum = (StartBit << 4) | 0b110;
			}
			if (ModeIN == 0b0111)
			{
				Mode = 7;
				State = Frame3_n;
				Frame = 3;
				CheckSum = (StartBit << 4) | 0b111;
			}
			if (ModeIN == 0b1000)
			{
				Mode = 8;
				State = Frame1;
				Frame = 1;
				CheckSum = (StartBit << 4) | 0b1000;
			}
			if (ModeIN == 0b1001)
			{
				Mode = 9;
				State = Frame1;
				Frame = 1;
				CheckSum = (StartBit << 4) | 0b1001;
			}
			if (ModeIN == 0b1010)
			{
				Mode = 10;
				State = Frame1;
				Frame = 1;
				CheckSum = (StartBit << 4) | 0b1010;
			}
			if (ModeIN == 0b1011)
			{
				Mode = 11;
				State = Frame1;
				Frame = 1;
				CheckSum = (StartBit << 4) | 0b1011;
			}
			if (ModeIN == 0b1100)
			{
				Mode = 12;
				State = Frame1;
				Frame = 1;
				CheckSum = (StartBit << 4) | 0b1100;
			}
			if (ModeIN == 0b1101)
			{
				Mode = 13;
				State = Frame1;
				Frame = 1;
				CheckSum = (StartBit << 4) | 0b1101;
			}
			if (ModeIN == 0b1110)
			{
				Mode = 14;
				State = Frame1;
				Frame = 1;
				CheckSum = (StartBit << 4) | 0b1110;
			}
		}
		else
		{
			State = Idle;
		}
		break;
	case Frame1:
		stateeee = 2;
		frame1 = dataIn;
		checksumtest = CheckSumFunction(CheckSum, Frame, CollectedData);
			if (frame1 == checksumtest)
			{
				UARTsuccess += 1;
				if (Mode == 2 || Mode == 3 || Mode == 12 || Mode == 13)
				{
					WriteACK1();
				}
				if (Mode == 8) // Go to Station N
				{
					WriteACK1();
					StartMoving = 1;
					NextStation = 0;
					FinishedTask = 0;
				}
				if (Mode == 9)
				{
					//send current station**************************************************************************
					WriteACK1();
					uint8_t temp[] = {153,0,GoToStation[NextStation],CheckSumFunction(153, 2, GoToStation[NextStation])};
					UARTTxWrite(&UART2, temp, 4) ;
				}
				if (Mode == 10) //Decimal 4 degree
				{
					WriteACK1();
					int radThousand = (int)(Degree*10000*3.14159265/180);
					CurrentAngle1 = (int8_t)(radThousand/256) ;
					CurrentAngle2 = (int8_t)(radThousand%256) ;
					uint8_t temp[] = {154,CurrentAngle1, CurrentAngle2,CheckSumFunction(154, 2, CurrentAngle1+CurrentAngle2)};
					UARTTxWrite(&UART2, temp, 4);
					n = 0;
				}
				if (Mode == 11) //error; send now speed and top speed
				{
					WriteACK1();
					uint8_t temp[] = {155,0,(int8_t)(VmaxReal * 255 / 10),CheckSumFunction(155, 2, (int8_t)(VmaxReal * 255 / 10))};
					UARTTxWrite(&UART2, temp, 4) ;
					//send Vmax
					n = 0;
					//read Ack in while loop

				}
				if (Mode == 14)
				{
					StartSetHome = 1;
					SetHomeFlag = 0;
					WriteACK1();
				}
				State = Idle;
			}
			else
			{
				Mode = 0;
				UARTerror += 1;
				State = Idle;
			}
		break;

	case Frame2_1:
		stateeee = 21;
		CollectedData = dataIn;
		State = Frame2_2;
		break;
	case Frame2_2:
		stateeee = 22;
		CollectedData2 = dataIn;
		State = CheckSum2;
		break;
	case CheckSum2:
		stateeee = 23;
		frame2 = dataIn;
		checksumtest = CheckSumFunction(CheckSum, Frame, CollectedData + CollectedData2);
		if (frame2 == checksumtest)
		{
			UARTsuccess += 1;
			if (Mode == 4)
			{
				VmaxRPM = (double)CollectedData2/255*10 ;
				WriteACK1();
			}
			if (Mode == 5)
			{
				FinalPos = (((double)CollectedData * 256) + ((double)CollectedData2))/10000/3.14159265*180;
				HowMuchStation = 0;
				NextStation = 0;
				WriteACK1();
			}
			if (Mode == 6)
			{
				GoToStation[0] = CollectedData2 - 1;
				HowMuchStation = 1;
				NextStation = 0;
				WriteACK1();
			}

			State = Idle;
		}
		else
		{
			UARTerror += 1;
			State = Idle;
		}

		break;
	case Frame3_n:
		stateeee = 30;
		HowMuchStation = dataIn;
		xxx = 0;
		NextStation = 0;
		frame3 = dataIn;
		State = Frame3_station;
		break;
	case Frame3_station:
		stateeee = 31;
		GoToStation[xxx] = (dataIn & 0b1111)-1;
		GoToStation[xxx+1] = ((dataIn & 0b11110000)>>4)-1;
		frame3 = frame3 + dataIn;
		xxx = xxx + 2;
		if (xxx < HowMuchStation)
		{
			State = Frame3_station;
		}
		else
		{
			State = CheckSum3;
		}
		break;
	case CheckSum3:
		ChecksumFrame3 = dataIn;
		checksumtest = CheckSumFunction(CheckSum, Frame, frame3);
		if (ChecksumFrame3 == checksumtest)
		{
			WriteACK1();
		}
		State = Idle;
		break;
	}
}

int16_t CheckSumFunction(uint8_t CheckSum, uint8_t Frame, uint8_t Data)
{
	uint16_t result = 0;
	if (Frame == 1)
	{
		result = ~(CheckSum);
	}
	if (Frame == 2)
	{
		result = ~(((CheckSum)+Data)&0xff);
	}
	if (Frame == 3)
	{
		result = ~(((CheckSum)+Data)&0xff);
	}
	return result;
}

void WriteACK1()
{
	//*********write ACK1*****************
	uint8_t temp[] = {0x58, 0b01110101};
	UARTTxWrite(&UART2, temp, 2);
	//************************************
}
void WriteACK2()
{
	//*********write ACK2*****************
	uint8_t temp[] = {70, 0x6e};
	UARTTxWrite(&UART2, temp, 2);
	//************************************
}
void SetHome()
{
	HomeSignal[0] = HAL_GPIO_ReadPin(GPIOC, GPIO_PIN_0) ; //Read set home
	sum = HomeSignal[0] + HomeSignal[1]+ HomeSignal[2]+ HomeSignal[3]+ HomeSignal[4]+ HomeSignal[5]+ HomeSignal[6]+ HomeSignal[7];

	if (SetHomeFlag == 0)
	{
		request = request+0.00005;
		if (request >= 4)
		{
			request = 4;
		}
		Direction = 0;
		if (sum > 0)
		{
			SetHomeFlag = 3;
		}
	}
	if (SetHomeFlag == 3)
	{
		request = request - 0.00005;
		if(request <= 0)
		{
			request = 0;
			SetHomeFlag = 1;
			SetHomeTimeStamp = micros();
		}
	}
	if (SetHomeFlag == 1)
	{
		request = 0;
		Direction = 2;
		if (micros()-SetHomeTimeStamp > 1000000)
		{
			SetHomeFlag = 2;
		}
	}
	if (SetHomeFlag == 2)
	{
		request = -0.5;
		Direction = 1;
		if (sum > 0)
		{
			request = 0;
			htim3.Instance->CNT = 1;
			SetHomeFlag = 0;
			StartSetHome = 0;
		}
	}
}

void Trajec()
{
	float Vmax;
	Vmax = VmaxRPM * 0.10472 ; //rad per sec
//	Vmax = 11*0.10472;
	float Amax = 0.5 ;  //rad per sec square
	if (ST == 0)
	{
		StartTime = micros() ;
		ST = 1 ;
		StartPos = Degree * 3.14159 / 180.0 ; //rad
	}
	tau = (float)(micros() - StartTime) / 1000000 ; //sec

	Qi = StartPos ;
	Qf = FinalPos * 3.14159 / 180.0 ;

	if (Qf - Qi > 3.14159265)
	{
		Qi += 2*3.14159265;
	}
	if (Qf - Qi < -3.14159265)
	{
		Qf += 2*3.14159265;
	}
	TA1= (40.0 * sqrt(3.0))*(Qf - Qi);
	TA2 = TA1/(3.0*Amax) ;
	if (TA2 >= 0)
	{
		TA3 = TA2;
	}
	else
	{
		TA3 = TA2 - (2*TA2);
	}
	TA = sqrt(TA3) / 2.0 ;

	TV1 = (15*Qf - 15*Qi)/(8*Vmax);
	if (TV1 >= 0)
	{
		TV = TV1;
	}
	else
	{
		TV = TV1 - (2*TV1);
	}

	if (TV > TA)
	{
		T = TV ;
	}
	if (TV <= TA)
	{
		T = TA ;
	}
	float a0 = Qi ;
	float a1 = 0 ;
	float a2 = 0 ;
	float a3 = (1 / (2 * (T*T*T))) * (20 * (Qf-Qi)) ;
	float a4 = (1 / (2 * (T*T*T*T))) * (30 * (Qi-Qf)) ;
	float a5 = (1 / (2 * (T*T*T*T*T))) * (12 * (Qf-Qi)) ;

	if (micros() - StartTime < T*1000000)
	{
		if (micros() - Trajtimestamp > 1500)
		{
			position = a0 + a1*tau + a2*tau*tau + a3*tau*tau*tau + a4*tau*tau*tau*tau + a5*tau*tau*tau*tau*tau; //rad
			velocity = a1 + 2*a2*tau + 3*a3*tau*tau + 4*a4*tau*tau*tau + 5*a5*tau*tau*tau*tau; //rad/s
			acceleration = 2*a2 + 6*a3*tau + 12*a4*tau*tau + 20*a5*tau*tau*tau; //rad per secsquare

			position = position * 180 / 3.1415 ; //degree
			velocity = velocity * 9.549297; //rpm
			Trajtimestamp = micros() ;
			request = velocity ;
		}
	}
	if (micros() - StartTime > (T*1000000)+500000)
	{
		FinishedTraj = 1;
	}

}

void PIDinit()
{
	preErr1 = 0 ;
	preErr2 = 0 ;
	PreviousPWM = 0 ;
	PWMPercent = 0 ;
	P = 0 ;
	I = 0 ;
	D = 0 ;
}

void PID()
{
	float req,Vel ;
	if (request < 0)
	{
		req = - request ;
		Vel = - VelocityRPM ;
		Direction = 1 ;
	}
	if (request > 0)
	{
		req = request ;
		Vel = VelocityRPM ;
		Direction = 0 ;
	}
	float error = req - Vel;
	DeltaU = ((P+I+D)*error) - ((P+(2*D))*preErr1) + (D*preErr2) ;
	PWMPercent = PreviousPWM + DeltaU + InitialPWM ;
	if (PWMPercent > 50000)
	{
		PWMPercent = 50000;
	}
	if (PWMPercent < 0)
	{
		PWMPercent = 0 ;
	}
	PreviousPWM = PWMPercent - InitialPWM ;
	preErr2 = preErr1 ;
	preErr1 = error ;

}

void SecondPID()
{
	float final,now;
	final = FinalPos;
	now = Degree;
	float error;
	if (FinalPos > Degree)
	{
		Direction = 0;
		error = final - now;
	}
	if (FinalPos < Degree)
	{
		Direction = 1;
		error = now - final;
	}
	if (FinalPos - Degree < -350)
	{
		final = FinalPos + 360;
		Direction = 0;
		error = final - now;
	}

	if (FinalPos - Degree > 350)
	{
		now = Degree + 360;
		Direction = 1;
		error = now - final;
	}

	SUM = SUM + error ;
	PWMPercent = (PP*error) + (II*SUM) + (DD*(error - PPreerror)) ;
	PPreerror = error;
}

float Acceleration()
{
	if (micros() - TimestampVelocity >= 1000)
	{
		TimestampVelocity = micros();
		EncoderAcc = (EncoderAcc * 499 + EncoderAcceleration_Update()) / 500.0 ;
	}
	return EncoderAcc;
}
float Velocity()
{
	  if (micros() - TimestampEncoder >= 100)
	  {
		  TimestampEncoder = micros();
		  EncoderVel = (EncoderVel * 499 + EncoderVelocity_Update()) / 500.0;
	  }
	  return EncoderVel * 60.0 / 2048.0; //pulse per sec to rpm
}
void PWMgeneration()
{
	  if (Direction == 0)
	  {
		  __HAL_TIM_SET_COMPARE(&htim1, TIM_CHANNEL_1, 50000);
	  }
	  if (Direction == 1)
	  {
		  __HAL_TIM_SET_COMPARE(&htim1, TIM_CHANNEL_1, 0);
	  }
	  if (Direction == 2)
	  {
		  PIDinit() ;
		  PWMPercent = 0 ;
	  }
	  __HAL_TIM_SET_COMPARE(&htim1, TIM_CHANNEL_2, PWMPercent);
}

#define  HTIM_ENCODER htim3
#define  MAX_SUBPOSITION_OVERFLOW 1024
#define  MAX_ENCODER_PERIOD 2048

float EncoderAcceleration_Update()
{
	//Save Last state
	static float EncoderLastVelocity = 0;
	static uint64_t EncoderLastTimestamp = 0;

	//read data
	float EncoderNowVelocity = VelocityRPM*	0.10472;
	uint64_t EncoderNowTimestamp = micros();

	float EncoderVelocityDiff;
	uint64_t EncoderTimeDiff;

	EncoderTimeDiff = EncoderNowTimestamp - EncoderLastTimestamp;
	EncoderVelocityDiff = EncoderNowVelocity - EncoderLastVelocity;

	//Update Position and time
	EncoderLastVelocity = EncoderNowVelocity;
	EncoderLastTimestamp = EncoderNowTimestamp;

	//Calculate velocity
	//EncoderTimeDiff is in uS
	return (EncoderVelocityDiff * 1000000) / (float) EncoderTimeDiff;

}

float EncoderVelocity_Update()
{
	//Save Last state
	static uint32_t EncoderLastPosition = 0;
	static uint64_t EncoderLastTimestamp = 0;

	//read data
	uint32_t EncoderNowPosition = HTIM_ENCODER.Instance->CNT;
	uint64_t EncoderNowTimestamp = micros();

	int32_t EncoderPositionDiff;
	uint64_t EncoderTimeDiff;

	EncoderTimeDiff = EncoderNowTimestamp - EncoderLastTimestamp;
	EncoderPositionDiff = EncoderNowPosition - EncoderLastPosition;

	//compensate overflow and underflow
	if (EncoderPositionDiff >= MAX_SUBPOSITION_OVERFLOW)
	{
		EncoderPositionDiff -= MAX_ENCODER_PERIOD;
	}
	else if (-EncoderPositionDiff >= MAX_SUBPOSITION_OVERFLOW)
	{
		EncoderPositionDiff += MAX_ENCODER_PERIOD;
	}

	//Update Position and time
	EncoderLastPosition = EncoderNowPosition;
	EncoderLastTimestamp = EncoderNowTimestamp;

	//Calculate velocity
	//EncoderTimeDiff is in uS
	return (EncoderPositionDiff * 1000000) / (float) EncoderTimeDiff;

}

void HAL_TIM_PeriodElapsedCallback(TIM_HandleTypeDef *htim)
{
	if (htim == &htim2)
	{
		_micros += 4294967295;
	}
}
uint64_t micros()
{
	return _micros + htim2.Instance->CNT;
}

/* USER CODE END 4 */

void Error_Handler(void)
{
  __disable_irq();
  while (1)
  {
  }
}

/************************ (C) COPYRIGHT STMicroelectronics *****END OF FILE****/
